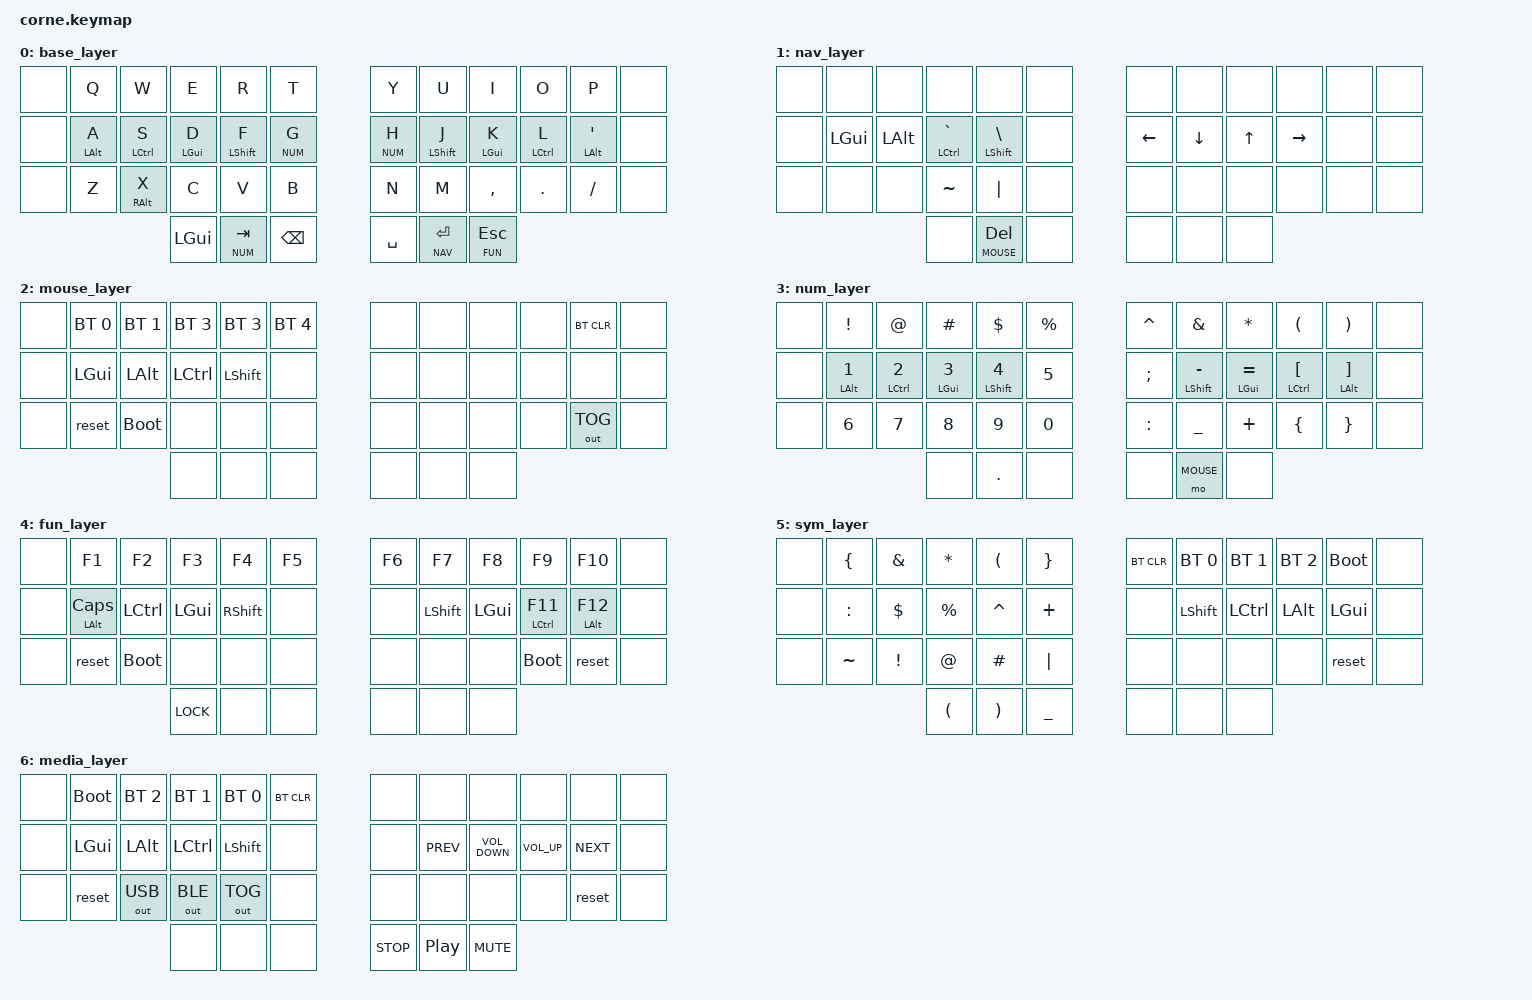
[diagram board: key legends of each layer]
/*
 * Copyright (c) 2020 The ZMK Contributors
 *
 * SPDX-License-Identifier: MIT
 */

#include <behaviors.dtsi>
#include <dt-bindings/zmk/keys.h>
#include <dt-bindings/zmk/bt.h>
#include <dt-bindings/zmk/outputs.h>

#define BASE    0
#define MEDIA   6
#define NAV     1
#define MOUSE   2
#define SYM     5
#define NUM     3
#define FUN     4

/ {
   behaviors {
      hm: homerow_mods {
         compatible = "zmk,behavior-hold-tap";
         label = "homerow mods";
         #binding-cells = <2>;
         tapping_term_ms = <150>;
         flavor = "tap-preferred";
         bindings = <&kp>, <&kp>;
      };
   };

    keymap {
        compatible = "zmk,keymap";

        base_layer {
            bindings = <
   &none &kp Q      &kp W       &kp E         &kp R         &kp T           &kp Y       &kp U       &kp I       &kp O         &kp P &none
   &none &hm LALT A &hm LCTRL S  &hm LGUI D   &hm LSHFT F   &lt NUM G       &lt NUM H   &hm LSHFT J &hm LGUI K &hm LCTRL L    &hm LALT SINGLE_QUOTE &none
   &none &kp Z      &hm RALT X  &kp C         &kp V         &kp B           &kp N       &kp M       &kp COMMA   &kp DOT  &kp FSLH &none
                          &kp LGUI    &lt NUM TAB     &kp BSPC        &kp SPACE   &lt NAV ENTER   &lt FUN ESC
            >;
        };

        nav_layer {
            bindings = <
   &none &none      &none       &none            &none           &none    &none       &none      &none     &none    &none &none
   &none &kp LGUI    &kp LALT     &hm LCTRL GRAVE   &hm LSHFT BSLH   &none       &kp LEFT    &kp DOWN   &kp UP    &kp RIGHT  &none &none
   &none &none      &none       &kp TILDE       &kp PIPE      &none       &none    &none    &none  &none &none &none
                            &none       &lt MOUSE DEL       &none       &none    &none    &none
            >;
        };

        mouse_layer {
            bindings = <
   &none &bt BT_SEL 0 &bt BT_SEL 1 &bt BT_SEL 3 &bt BT_SEL 3 &bt BT_SEL 4  &none &none &none &none &bt BT_CLR &none
   &none &kp LGUI    &kp LALT     &kp LCTRL    &kp LSHFT    &none       &none &none &none &none &none &none
   &none &reset      &bootloader       &none       &none       &none       &none &none &none &none &out OUT_TOG &none
                            &none       &none       &none       &none &none &none
            >;
        };

        num_layer {
            bindings = <
   &none &kp EXCL  &kp AT &kp HASH  &kp DOLLAR &kp PRCNT            &kp CARET &kp AMPERSAND &kp ASTRK &kp LPAR &kp RPAR &none
   &none &hm LALT N1  &hm LCTRL N2 &hm LGUI N3  &hm LSHFT N4 &kp N5   &kp SEMICOLON  &hm LSHFT MINUS   &hm LGUI EQUAL   &hm LCTRL LEFT_BRACKET  &hm LALT RIGHT_BRACKET &none
   &none &kp N6       &kp N7       &kp N8       &kp N9       &kp N0   &kp COLON     &kp UNDERSCORE       &kp PLUS       &kp LEFT_BRACE       &kp RIGHT_BRACE &none
                    &none &kp DOT &none                        &none     &mo MOUSE       &none
            >;
        };

        fun_layer {
            bindings = <
   &none &kp F1 &kp F2 &kp F3    &kp F4    &kp F5             &kp F6 &kp F7 &kp F8 &kp F9 &kp F10 &none
   &none &hm LALT CAPSLOCK &kp LCTRL &kp LGUI &kp RSHFT  &none   &none     &kp LSHFT    &kp LGUI    &hm LCTRL F11     &hm LALT F12 &none
   &none &reset  &bootloader &none    &none    &none   &none     &none       &none       &bootloader       &reset &none
                  &kp K_LOCK  &none &none        &none     &none       &none
            >;
        };

        sym_layer {
            bindings = <
   &none &kp LBRC  &kp AMPS &kp ASTRK &kp LPAR  &kp RBRC    &bt BT_CLR &bt BT_SEL 0 &bt BT_SEL 1 &bt BT_SEL 2 &bootloader &none
   &none &kp COLON &kp DLLR &kp PRCNT &kp CARET &kp PLUS    &none     &kp LSHFT    &kp LCTRL    &kp LALT     &kp LGUI &none
   &none &kp TILDE &kp EXCL &kp AT    &kp HASH  &kp PIPE    &none     &none       &none       &none       &reset &none
                      &kp LPAR  &kp RPAR  &kp UNDER   &none     &none       &none
            >;
        };

        media_layer {
            bindings = <
   &none &bootloader &bt BT_SEL 2 &bt BT_SEL 1 &bt BT_SEL 0 &bt BT_CLR   &none     &none     &none            &none          &none &none
   &none &kp LGUI    &kp LALT     &kp LCTRL    &kp LSHFT    &none       &none     &kp C_PREV &kp C_VOLUME_DOWN &kp C_VOLUME_UP &kp C_NEXT &none
   &none &reset      &out OUT_USB &out OUT_BLE &out OUT_TOG &none       &none     &none     &none            &none          &reset &none
                            &none       &none       &none       &kp C_STOP &kp C_PP   &kp C_MUTE
            >;
        };
    };
};
